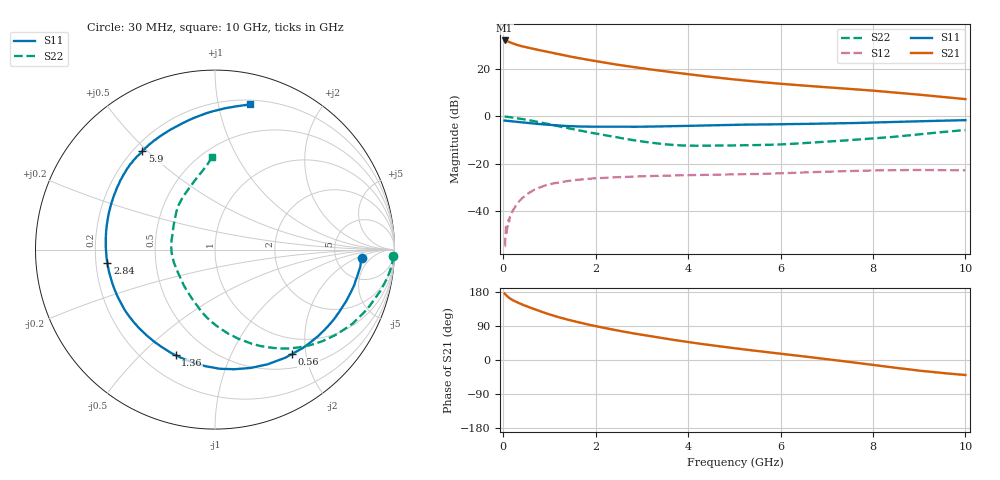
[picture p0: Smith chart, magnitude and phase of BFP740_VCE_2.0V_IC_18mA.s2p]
! Infineon Technologies  Discrete & RF Semiconductors
! BFP740
! VCE =  2.0 V,  IC =  18 mA
! Common Emitter S-Parameters:  Jan 2016
# GHz  S  MA  R  50
!  f  S11  S21  S12  S22
! GHz  MAG  ANG  MAG  ANG  MAG  ANG  MAG  ANG
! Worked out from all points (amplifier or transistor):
!   229 points, 30 MHz to 10 GHz, reference 50 ohm
!   highest |S21| = 32.1 dB at 30 MHz (marker M1)
!   |S21| within 3 dB of that: start of sweep to 523 MHz
!   unconditionally stable (mu >= 1): 6.37 GHz to end of sweep
!   at 280 MHz: K = 0.21, MSG = 33.9 dB, |S12| = -37.5 dB
!   at 1.78 GHz: K = 0.43, MSG = 25.3 dB, |S12| = -26.5 dB
!   at 10 GHz: K = 1.04, MAG = 13.9 dB, |S12| = -22.8 dB
!   S11 on the Smith chart (normalised r, x): 30 MHz: 9.18, -2.69; 560 MHz: 0.72, -1.75; 1.36 GHz: 0.33, -0.64; 2.84 GHz: 0.25, -0.06; 5.9 GHz: 0.24, +0.48; 10 GHz: 0.24, +1.25
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0.03  0.8178 -3.4  40.48 175.4  0.0018 71.8  0.9915 -1.9
0.05  0.8151 -5.6  40.36 172.9  0.0034 74.0  0.9916 -3.7
0.06  0.8152 -6.8  39.94 171.3  0.0046 84.6  0.9904 -4.5
0.11  0.8026 -12.2  38.38 165.7  0.0055 83.0  0.9769 -8.2
0.2  0.7857 -21.3  35.2 158.3  0.0099 79.4  0.9486 -14.2
0.32  0.7636 -32.5  32.09 151.2  0.0151 73.5  0.9107 -21.1
0.45  0.7422 -44.2  29.82 144.5  0.02 67.4  0.8709 -28.2
0.56  0.7227 -53.6  28.11 139.3  0.0241 63.3  0.832 -33.8
0.7  0.7032 -65.3  26.28 132.9  0.0291 57.6  0.7854 -40.6
0.9  0.6752 -80.8  23.93 124.3  0.0344 50.8  0.7153 -49.7
1.1  0.6519 -94.6  21.72 116.5  0.0385 45.0  0.649 -57.9
1.36  0.6278 -110.5  19.25 107.6  0.0426 38.7  0.5746 -67.1
1.7  0.6111 -128.5  16.66 97.4  0.0466 32.6  0.4926 -78.0
2.22  0.6027 -151.2  13.6 83.7  0.0504 25.3  0.3969 -93.8
2.84  0.6044 -172.9  11 69.8  0.0534 18.9  0.3119 -112.0
3.4  0.6147 170.7  9.269 58.5  0.0554 14.7  0.2644 -131.1
4.2  0.639 151.7  7.408 43.9  0.0576 9.6  0.2396 -159.7
5.1  0.6667 136.3  5.921 29.6  0.0596 5.5  0.2449 175.6
5.9  0.6814 126.5  5.002 18.1  0.0622 3.0  0.2534 158.5
6.8  0.7018 115.9  4.277 5.2  0.0668 -0.9  0.283 142.0
8.4  0.7611 93.7  3.258 -19.2  0.073 -11.6  0.3666 114.1
10  0.833 76.3  2.324 -39.6  0.0724 -20.5  0.5141 91.9
